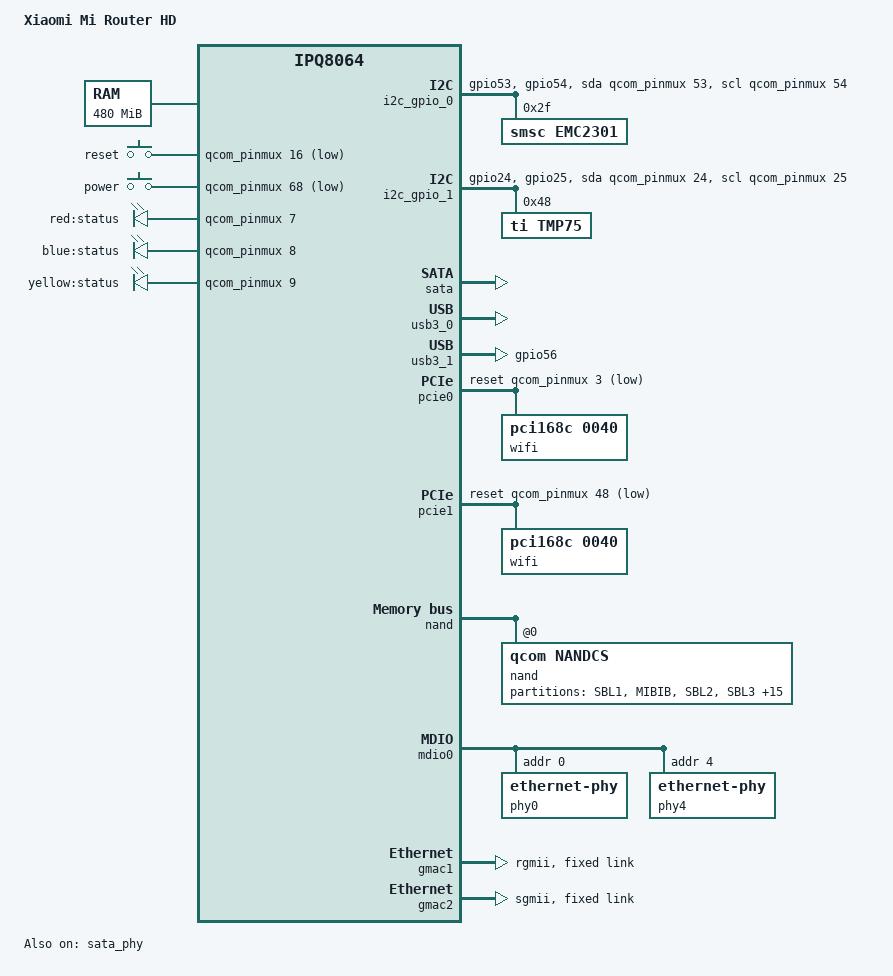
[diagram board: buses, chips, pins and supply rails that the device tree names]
// SPDX-License-Identifier: GPL-2.0-or-later OR MIT

#include "qcom-ipq8064-v2.0-smb208.dtsi"

#include <dt-bindings/input/input.h>

/ {
	model = "Xiaomi Mi Router HD";
	compatible = "xiaomi,mi-router-hd", "qcom,ipq8064";

	memory@0 {
		device_type = "memory";
		reg = <0x42000000 0x1e000000>;
	};

	reserved-memory {
		rsvd@44600000 {
			reg = <0x44600000 0x200000>; /* IPQ_TZ_APPS_ADDR */
			no-map;
		};
	};

	aliases {
		label-mac-device = &gmac1;

		mdio-gpio0 = &mdio0;

		led-boot = &led_status_yellow;
		led-failsafe = &led_status_red;
		led-running = &led_status_blue;
		led-upgrade = &led_status_yellow;
	};

	chosen {
		bootargs = "rootfstype=squashfs noinitrd";
	};

	keys {
		compatible = "gpio-keys";
		pinctrl-0 = <&button_pins>;
		pinctrl-names = "default";

		reset {
			label = "reset";
			gpios = <&qcom_pinmux 16 GPIO_ACTIVE_LOW>;
			linux,code = <KEY_RESTART>;
			debounce-interval = <60>;
			wakeup-source;
		};

		power {
			label = "power"; /* Labeled POWER on the device, but using for sleep mode */
			gpios = <&qcom_pinmux 68 GPIO_ACTIVE_LOW>;
			linux,code = <KEY_POWER>;
			debounce-interval = <60>;
			wakeup-source;
		};
	};

	leds {
		compatible = "gpio-leds";
		pinctrl-0 = <&led_pins>;
		pinctrl-names = "default";

		led_status_red: led_status_red {
			label = "red:status";
			gpios = <&qcom_pinmux 7 GPIO_ACTIVE_HIGH>;
			default-state = "keep";
		};

		led_status_blue: led_status_blue {
			label = "blue:status";
			gpios = <&qcom_pinmux 8 GPIO_ACTIVE_HIGH>;
			default-state = "keep";
		};

		led_status_yellow: led_status_yellow {
			label = "yellow:status";
			gpios = <&qcom_pinmux 9 GPIO_ACTIVE_HIGH>;
			default-state = "keep";
		};
	};

	i2c_gpio_0 { // GSBI1
		compatible = "i2c-gpio";
		#address-cells = <1>;
		#size-cells = <0>;
		pinctrl-0 = <&i2c1_pins>;
		pinctrl-names = "default";
		sda-gpios = <&qcom_pinmux 53 (GPIO_ACTIVE_HIGH | GPIO_OPEN_DRAIN)>;
		scl-gpios = <&qcom_pinmux 54 (GPIO_ACTIVE_HIGH | GPIO_OPEN_DRAIN)>;
		i2c-gpio,delay-us = <5>;

		emc2301@2f {
			compatible = "smsc,emc2301";
			reg = <0x2f>;
			#address-cells = <1>;
			#size-cells = <0>;

			fan@0 {
				reg = <0>;
				pwm-output-mode = <1>;
			};
		};
	};

	i2c_gpio_1 { // GSBI2
		compatible = "i2c-gpio";
		#address-cells = <1>;
		#size-cells = <0>;
		pinctrl-0 = <&i2c2_pins>;
		pinctrl-names = "default";
		sda-gpios = <&qcom_pinmux 24 (GPIO_ACTIVE_HIGH | GPIO_OPEN_DRAIN)>;
		scl-gpios = <&qcom_pinmux 25 (GPIO_ACTIVE_HIGH | GPIO_OPEN_DRAIN)>;
		i2c-gpio,delay-us = <5>;

		tmp75@48 {
			compatible = "ti,tmp75";
			reg = <0x48>;
			#address-cells = <1>;
			#size-cells = <0>;
			#thermal-sensor-cells = <0>;
			status = "okay";
		};
	};
};

// https://github.com/openwrt/openwrt/commit/622ce713ca246aa465bf28d2a743f96999085ea2
// https://github.com/openwrt/openwrt/commit/2336c2dbb1929837f7e42d4315c8073342a5b46b
// https://forum.openwrt.org/t/failed-to-startup-an-ipq806x-router-on-kernel-5-4/60775/41
&CPU_SPC {
	status = "disabled";
};

&adm_dma {
	status = "okay";
};

&qcom_pinmux {
	i2c1_pins: i2c1_pins { // GSBI1 - EMC2301
		mux {
			pins = "gpio53", "gpio54";
			function = "gsbi1";
			drive-strength = <12>;
			bias-none;
			input;
		};
	};

	i2c2_pins: i2c2_pins { // GSBI2 - TMP75
		mux {
			pins = "gpio24", "gpio25";
			function = "gsbi2";
			drive-strength = <12>;
			bias-none;
			input;
		};
	};

	button_pins: button_pins {
		mux {
			pins = "gpio16", "gpio68";
			function = "gpio";
			drive-strength = <2>;
			bias-pull-up;
		};
	};

	led_pins: led_pins {
		mux {
			pins = "gpio7", "gpio8", "gpio9";
			function = "gpio";
			drive-strength = <2>;
			bias-pull-up;
		};
	};

	usb_pwr_en_pins: usb_pwr_en_pins {
		mux {
			pins = "gpio56";
			function = "gpio";
			drive-strength = <12>;
			bias-pull-up;
			output-high;
		};
	};
};

&sata_phy {
	status = "okay";
};

&sata {
	status = "okay";
};

&usb3_0 {
	status = "okay";
};

&usb3_1 {
	status = "okay";
	pinctrl-0 = <&usb_pwr_en_pins>;
	pinctrl-names = "default";
};

&pcie0 {
	status = "okay";
	reset-gpio = <&qcom_pinmux 3 GPIO_ACTIVE_LOW>;
	pinctrl-0 = <&pcie0_pins>;
	pinctrl-names = "default";

	bridge@0,0 {
		reg = <0x00000000 0 0 0 0>;
		#address-cells = <3>;
		#size-cells = <2>;
		ranges;

		wifi@1,0 {
			compatible = "pci168c,0040";
			reg = <0x00010000 0 0 0 0>;

			nvmem-cells = <&macaddr_art_1006>, <&precal_art_1000>;
			nvmem-cell-names = "mac-address", "pre-calibration";
		};
	};
};

&pcie1 {
	status = "okay";
	reset-gpio = <&qcom_pinmux 48 GPIO_ACTIVE_LOW>;
	pinctrl-0 = <&pcie1_pins>;
	pinctrl-names = "default";
	max-link-speed = <1>;

	bridge@0,0 {
		reg = <0x00000000 0 0 0 0>;
		#address-cells = <3>;
		#size-cells = <2>;
		ranges;

		wifi@1,0 {
			compatible = "pci168c,0040";
			reg = <0x00010000 0 0 0 0>;

			nvmem-cells = <&macaddr_art_5006>, <&precal_art_5000>;
			nvmem-cell-names = "mac-address", "pre-calibration";
		};
	};
};

&nand {
	status = "okay";

	nand@0 {
		reg = <0>;
		compatible = "qcom,nandcs";

		nand-bus-width = <8>;
		nand-ecc-strength = <4>;
		nand-ecc-step-size = <512>;

		nand-is-boot-medium;
		qcom,boot_pages_size = <0xf0000000>;

		partitions {
			compatible = "fixed-partitions";
			#address-cells = <1>;
			#size-cells = <1>;

			partition@0 {
				label = "SBL1";
				reg = <0x0 0x40000>;
				read-only;
			};

			partition@40000 {
				label = "MIBIB";
				reg = <0x40000 0x80000>;
				read-only;
			};

			partition@c0000 {
				label = "SBL2";
				reg = <0xc0000 0x80000>;
				read-only;
			};

			partition@140000 {
				label = "SBL3";
				reg = <0x140000 0x80000>;
				read-only;
			};

			partition@1c0000 {
				label = "DDRCONFIG";
				reg = <0x1c0000 0x80000>;
				read-only;
			};

			partition@240000 {
				label = "SSD";
				reg = <0x240000 0x80000>;
				read-only;
			};

			partition@2c0000 {
				label = "TZ";
				reg = <0x2c0000 0x80000>;
				read-only;
			};

			partition@340000 {
				label = "RPM";
				reg = <0x340000 0x80000>;
				read-only;
			};

			partition@3c0000 {
				label = "APPSBL";
				reg = <0x3c0000 0x100000>;
				read-only;
			};

			partition@4c0000 {
				label = "APPSBLENV";
				reg = <0x4c0000 0x80000>;
			};

			art: partition@540000 {
				label = "ART";
				reg = <0x540000 0x80000>;
				read-only;

				compatible = "nvmem-cells";
				#address-cells = <1>;
				#size-cells = <1>;

				macaddr_art_0: macaddr@0 {  // WAN (label)
					reg = <0x0 0x6>;
				};
				macaddr_art_6: macaddr@6 {  // LAN
					reg = <0x6 0x6>;
				};
				macaddr_art_1006: macaddr@1006 {  // WiFi 2g
					reg = <0x1006 0x6>;
				};
				macaddr_art_5006: macaddr@5006 {  // WiFi 5g
					reg = <0x5006 0x6>;
				};
				precal_art_1000: precal@1000 {
					reg = <0x1000 0x2f20>;
				};
				precal_art_5000: precal@5000 {
					reg = <0x5000 0x2f20>;
				};
			};

			partition@5c0000 {
				label = "BOOTCONFIG";
				reg = <0x5c0000 0x40000>;
				read-only;
			};

			partition@600000 {
				label = "bdata";
				reg = <0x600000 0x80000>;
			};

			partition@680000 {
				label = "crash";
				reg = <0x680000 0x80000>;
				read-only;
			};

			partition@700000 {
				label = "crash_syslog";
				reg = <0x700000 0x80000>;
				read-only;
			};

			partition@780000 {
				label = "rsvd";
				reg = <0x780000 0x80000>;
				read-only;
			};

			/* Stock U-Boot support Dual Boot */
			partition@800000 {
				label = "kernel_dup";
				reg = <0x800000 0x400000>;
			};

			partition@c00000 {
				label = "kernel";
				reg = <0xc00000 0x400000>;
			};

			partition@1000000 {
				label = "ubi";
				reg = <0x1000000 0xf000000>;
			};
		};
	};
};

&mdio0 {
	status = "okay";

	pinctrl-0 = <&mdio0_pins>;
	pinctrl-names = "default";

	phy0: ethernet-phy@0 {
		reg = <0>;
		qca,ar8327-initvals = <
			0x04 0x07600000  /* PAD0_MODE */
			0x08 0x01000000  /* PAD5_MODE */
			0x0c 0x00000080  /* PAD6_MODE */
			0x7c 0x0000004e  /* PORT0_STATUS */
			0x94 0x0000004e  /* PORT6_STATUS */
			0xe0 0xc74164de  /* SGMII_CTRL */
			0xe4 0x0006a545  /* MAC_POWER_SEL */
		>;
	};

	phy4: ethernet-phy@4 {
		reg = <4>;
	};
};

&gmac1 {
	status = "okay";
	phy-mode = "rgmii";
	qcom,id = <1>;

	pinctrl-0 = <&rgmii2_pins>;
	pinctrl-names = "default";

	nvmem-cells = <&macaddr_art_0>;
	nvmem-cell-names = "mac-address";

	fixed-link {
		speed = <1000>;
		full-duplex;
	};
};

&gmac2 {
	status = "okay";
	phy-mode = "sgmii";
	qcom,id = <2>;

	nvmem-cells = <&macaddr_art_6>;
	nvmem-cell-names = "mac-address";

	fixed-link {
		speed = <1000>;
		full-duplex;
	};
};
